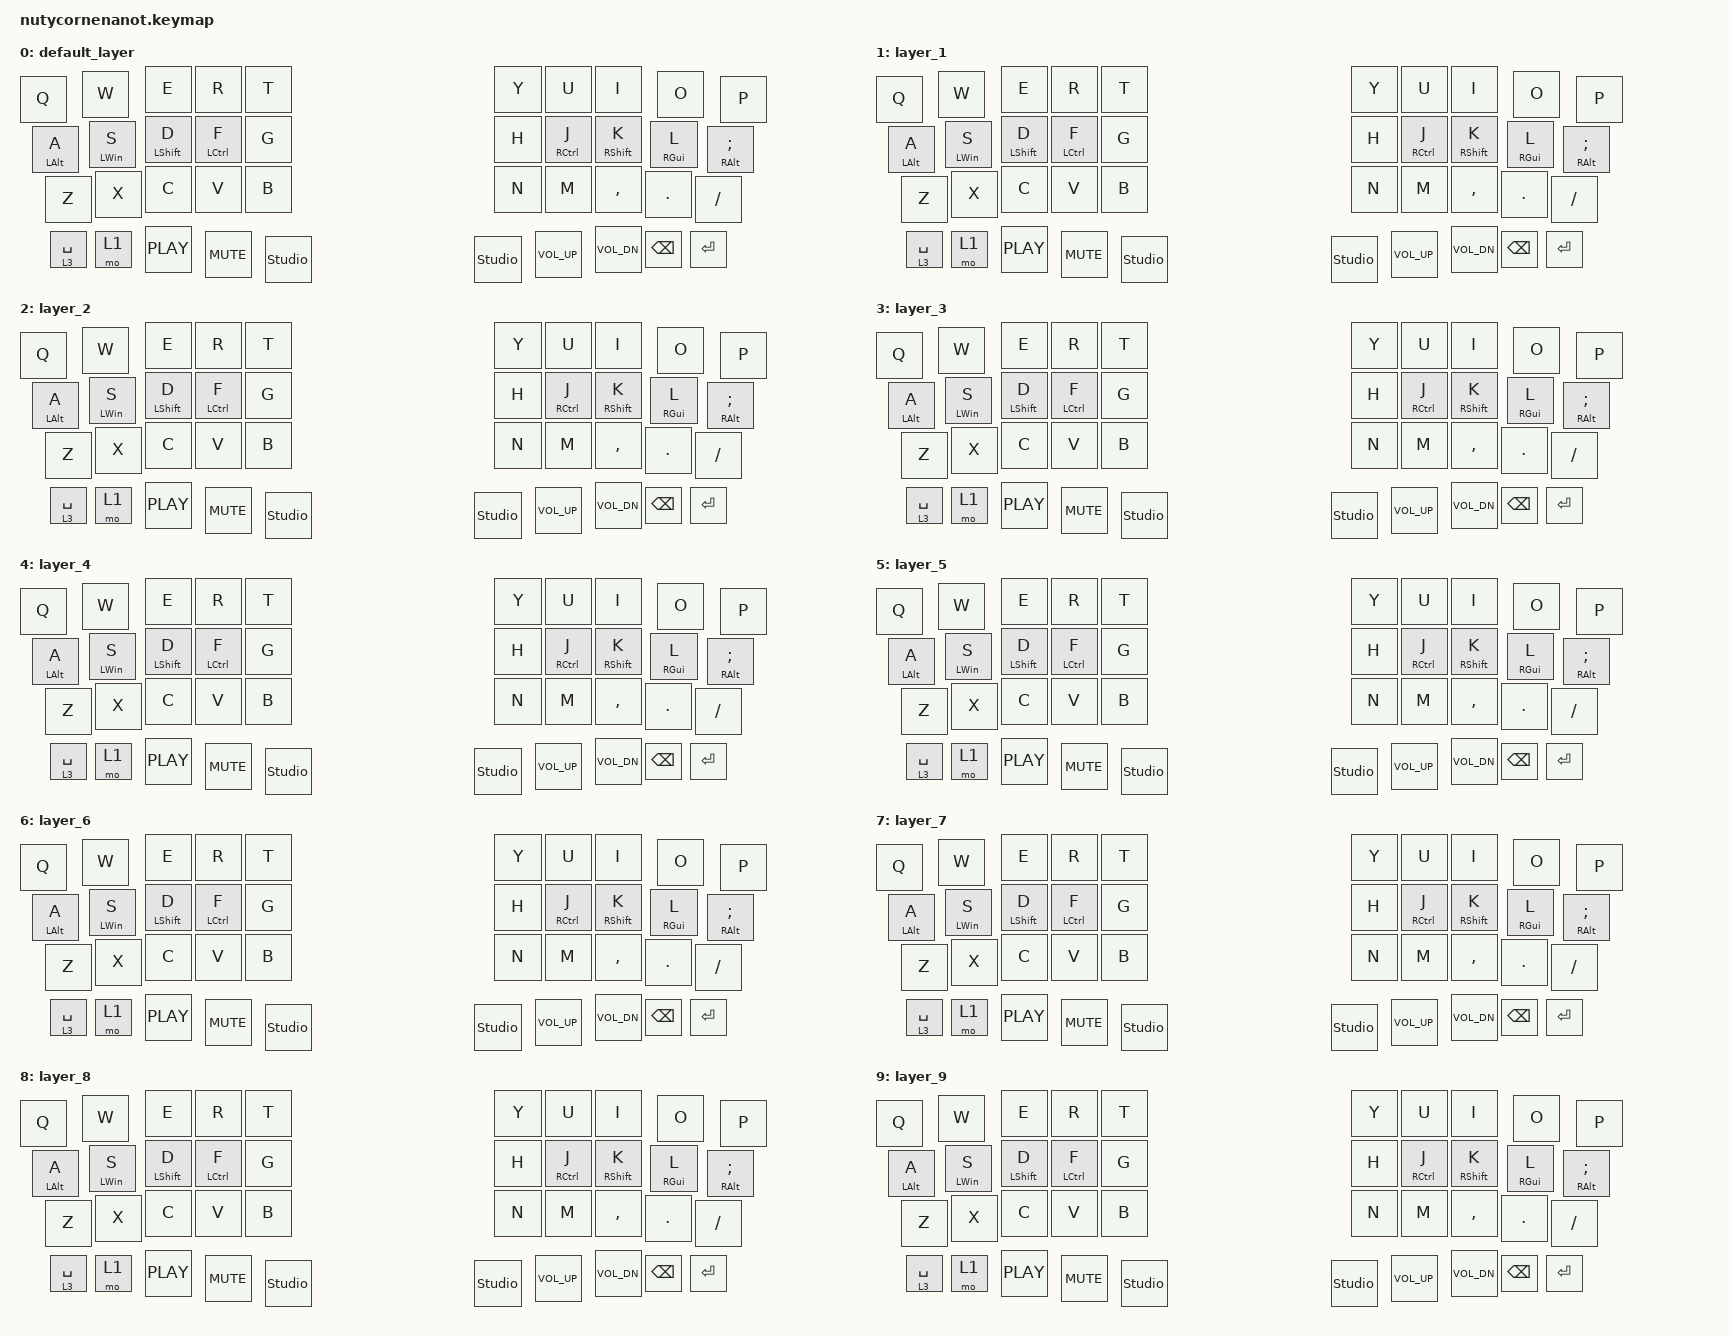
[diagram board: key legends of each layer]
#include <input/processors.dtsi>
#include <zephyr/dt-bindings/input/input-event-codes.h>
#include <behaviors.dtsi>
#include <dt-bindings/zmk/bt.h>
#include <dt-bindings/zmk/keys.h>
#include <dt-bindings/zmk/pointing.h>
#include <dt-bindings/zmk/input_transform.h>

/ {

    glidepoint_rh_listener {
        input-processors = <&zip_xy_scaler 2 1>;
    };

    glidepoint_lh_listener {

        scroller {
            //layers = <1 3>;//uncomment this line to enable scrolling on layers 1 and 3
            input-processors =
                <&zip_xy_to_scroll_mapper>,
                <&zip_scroll_scaler (-1) 1>;
        };


    };
    
    behaviors {
        hm: homerow_mods {
            compatible = "zmk,behavior-hold-tap";
            #binding-cells = <2>;
            tapping-term-ms = <150>;
            flavor = "tap-preferred";
            require-prior-idle-ms = <125>;
            bindings = <&kp>, <&kp>;
        };
    };

    keymap {
        compatible = "zmk,keymap";

        default_layer {
                    bindings = <
          &kp Q           &kp W           &kp E             &kp R        &kp T           &kp Y           &kp U         &kp I              &kp O            &kp P               
          &hm LEFT_ALT A  &hm LEFT_WIN S  &hm LEFT_SHIFT D  &hm LCTRL F  &kp G           &kp H           &hm RCTRL J   &hm RIGHT_SHIFT K  &hm RIGHT_GUI L  &hm RIGHT_ALT SEMI  
          &kp Z           &kp X           &kp C             &kp V        &kp B           &kp N           &kp M         &kp COMMA          &kp DOT          &kp FSLH            
          &lt 3 SPACE     &mo 1           &kp C_PLAY        &kp C_MUTE   &studio_unlock  &studio_unlock  &kp C_VOL_UP  &kp C_VOL_DN       &kp BACKSPACE    &kp ENTER           
                    >;
                };
        
                layer_1 {
                    bindings = <
          &kp Q           &kp W           &kp E             &kp R        &kp T           &kp Y           &kp U         &kp I              &kp O            &kp P               
          &hm LEFT_ALT A  &hm LEFT_WIN S  &hm LEFT_SHIFT D  &hm LCTRL F  &kp G           &kp H           &hm RCTRL J   &hm RIGHT_SHIFT K  &hm RIGHT_GUI L  &hm RIGHT_ALT SEMI  
          &kp Z           &kp X           &kp C             &kp V        &kp B           &kp N           &kp M         &kp COMMA          &kp DOT          &kp FSLH            
          &lt 3 SPACE     &mo 1           &kp C_PLAY        &kp C_MUTE   &studio_unlock  &studio_unlock  &kp C_VOL_UP  &kp C_VOL_DN       &kp BACKSPACE    &kp ENTER           
                    >;
                };
        
                layer_2 {
                    bindings = <
          &kp Q           &kp W           &kp E             &kp R        &kp T           &kp Y           &kp U         &kp I              &kp O            &kp P               
          &hm LEFT_ALT A  &hm LEFT_WIN S  &hm LEFT_SHIFT D  &hm LCTRL F  &kp G           &kp H           &hm RCTRL J   &hm RIGHT_SHIFT K  &hm RIGHT_GUI L  &hm RIGHT_ALT SEMI  
          &kp Z           &kp X           &kp C             &kp V        &kp B           &kp N           &kp M         &kp COMMA          &kp DOT          &kp FSLH            
          &lt 3 SPACE     &mo 1           &kp C_PLAY        &kp C_MUTE   &studio_unlock  &studio_unlock  &kp C_VOL_UP  &kp C_VOL_DN       &kp BACKSPACE    &kp ENTER           
                    >;
                };
        
                layer_3 {
                    bindings = <
          &kp Q           &kp W           &kp E             &kp R        &kp T           &kp Y           &kp U         &kp I              &kp O            &kp P               
          &hm LEFT_ALT A  &hm LEFT_WIN S  &hm LEFT_SHIFT D  &hm LCTRL F  &kp G           &kp H           &hm RCTRL J   &hm RIGHT_SHIFT K  &hm RIGHT_GUI L  &hm RIGHT_ALT SEMI  
          &kp Z           &kp X           &kp C             &kp V        &kp B           &kp N           &kp M         &kp COMMA          &kp DOT          &kp FSLH            
          &lt 3 SPACE     &mo 1           &kp C_PLAY        &kp C_MUTE   &studio_unlock  &studio_unlock  &kp C_VOL_UP  &kp C_VOL_DN       &kp BACKSPACE    &kp ENTER           
                    >;
                };
        
                layer_4 {
                    bindings = <
          &kp Q           &kp W           &kp E             &kp R        &kp T           &kp Y           &kp U         &kp I              &kp O            &kp P               
          &hm LEFT_ALT A  &hm LEFT_WIN S  &hm LEFT_SHIFT D  &hm LCTRL F  &kp G           &kp H           &hm RCTRL J   &hm RIGHT_SHIFT K  &hm RIGHT_GUI L  &hm RIGHT_ALT SEMI  
          &kp Z           &kp X           &kp C             &kp V        &kp B           &kp N           &kp M         &kp COMMA          &kp DOT          &kp FSLH            
          &lt 3 SPACE     &mo 1           &kp C_PLAY        &kp C_MUTE   &studio_unlock  &studio_unlock  &kp C_VOL_UP  &kp C_VOL_DN       &kp BACKSPACE    &kp ENTER           
                    >;
                };
        
                layer_5 {
                    bindings = <
          &kp Q           &kp W           &kp E             &kp R        &kp T           &kp Y           &kp U         &kp I              &kp O            &kp P               
          &hm LEFT_ALT A  &hm LEFT_WIN S  &hm LEFT_SHIFT D  &hm LCTRL F  &kp G           &kp H           &hm RCTRL J   &hm RIGHT_SHIFT K  &hm RIGHT_GUI L  &hm RIGHT_ALT SEMI  
          &kp Z           &kp X           &kp C             &kp V        &kp B           &kp N           &kp M         &kp COMMA          &kp DOT          &kp FSLH            
          &lt 3 SPACE     &mo 1           &kp C_PLAY        &kp C_MUTE   &studio_unlock  &studio_unlock  &kp C_VOL_UP  &kp C_VOL_DN       &kp BACKSPACE    &kp ENTER           
                    >;
                };
        
                layer_6 {
                    bindings = <
          &kp Q           &kp W           &kp E             &kp R        &kp T           &kp Y           &kp U         &kp I              &kp O            &kp P               
          &hm LEFT_ALT A  &hm LEFT_WIN S  &hm LEFT_SHIFT D  &hm LCTRL F  &kp G           &kp H           &hm RCTRL J   &hm RIGHT_SHIFT K  &hm RIGHT_GUI L  &hm RIGHT_ALT SEMI  
          &kp Z           &kp X           &kp C             &kp V        &kp B           &kp N           &kp M         &kp COMMA          &kp DOT          &kp FSLH            
          &lt 3 SPACE     &mo 1           &kp C_PLAY        &kp C_MUTE   &studio_unlock  &studio_unlock  &kp C_VOL_UP  &kp C_VOL_DN       &kp BACKSPACE    &kp ENTER           
                    >;
                };
        
                layer_7 {
                    bindings = <
          &kp Q           &kp W           &kp E             &kp R        &kp T           &kp Y           &kp U         &kp I              &kp O            &kp P               
          &hm LEFT_ALT A  &hm LEFT_WIN S  &hm LEFT_SHIFT D  &hm LCTRL F  &kp G           &kp H           &hm RCTRL J   &hm RIGHT_SHIFT K  &hm RIGHT_GUI L  &hm RIGHT_ALT SEMI  
          &kp Z           &kp X           &kp C             &kp V        &kp B           &kp N           &kp M         &kp COMMA          &kp DOT          &kp FSLH            
          &lt 3 SPACE     &mo 1           &kp C_PLAY        &kp C_MUTE   &studio_unlock  &studio_unlock  &kp C_VOL_UP  &kp C_VOL_DN       &kp BACKSPACE    &kp ENTER           
                    >;
                };
        
                layer_8 {
                    bindings = <
          &kp Q           &kp W           &kp E             &kp R        &kp T           &kp Y           &kp U         &kp I              &kp O            &kp P               
          &hm LEFT_ALT A  &hm LEFT_WIN S  &hm LEFT_SHIFT D  &hm LCTRL F  &kp G           &kp H           &hm RCTRL J   &hm RIGHT_SHIFT K  &hm RIGHT_GUI L  &hm RIGHT_ALT SEMI  
          &kp Z           &kp X           &kp C             &kp V        &kp B           &kp N           &kp M         &kp COMMA          &kp DOT          &kp FSLH            
          &lt 3 SPACE     &mo 1           &kp C_PLAY        &kp C_MUTE   &studio_unlock  &studio_unlock  &kp C_VOL_UP  &kp C_VOL_DN       &kp BACKSPACE    &kp ENTER           
                    >;
                };
        
                layer_9 {
                    bindings = <
          &kp Q           &kp W           &kp E             &kp R        &kp T           &kp Y           &kp U         &kp I              &kp O            &kp P               
          &hm LEFT_ALT A  &hm LEFT_WIN S  &hm LEFT_SHIFT D  &hm LCTRL F  &kp G           &kp H           &hm RCTRL J   &hm RIGHT_SHIFT K  &hm RIGHT_GUI L  &hm RIGHT_ALT SEMI  
          &kp Z           &kp X           &kp C             &kp V        &kp B           &kp N           &kp M         &kp COMMA          &kp DOT          &kp FSLH            
          &lt 3 SPACE     &mo 1           &kp C_PLAY        &kp C_MUTE   &studio_unlock  &studio_unlock  &kp C_VOL_UP  &kp C_VOL_DN       &kp BACKSPACE    &kp ENTER           
                    >;
                };
    };

 };

